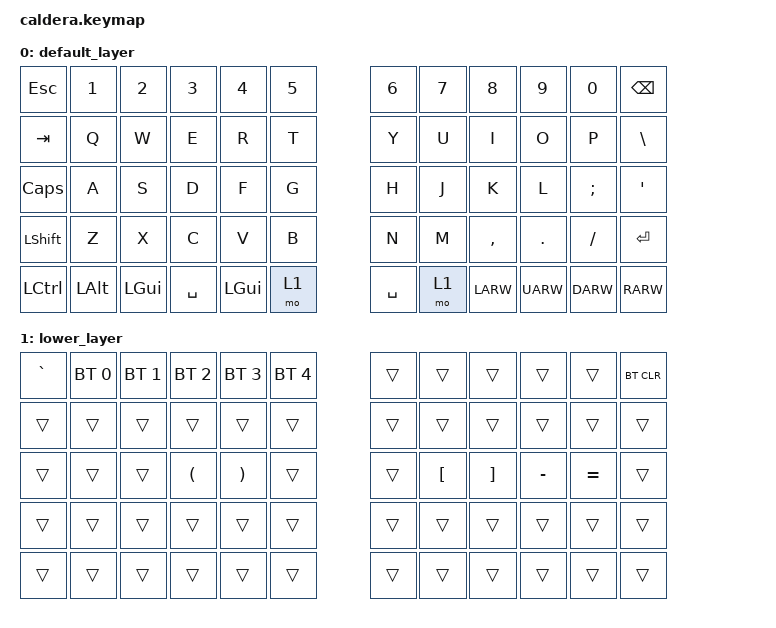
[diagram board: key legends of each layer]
/*
 * Copyright (c) 2024 The ZMK Contributors
 *
 * SPDX-License-Identifier: MIT
 */

#include <behaviors.dtsi>
#include <dt-bindings/zmk/keys.h>
#include <dt-bindings/zmk/bt.h>

/ {
        keymap {
                compatible = "zmk,keymap";

                default_layer {
// ---------------------------------------------------------------------------------
// |  ESC |  1  |  2  |  3  |  4  |  5  |     |  6  |  7  |  8  |  9  |  0  | BKSP |
// |  TAB |  Q  |  W  |  E  |  R  |  T  |     |  Y  |  U  |  I  |  O  |  P  |  \   |
// | CAPS |  A  |  S  |  D  |  F  |  G  |     |  H  |  J  |  K  |  L  |  ;  | APOS |
// | SHFT |  Z  |  X  |  C  |  V  |  B  |     |  N  |  M  |  ,  |  .  |  /  |  ENT |
// | CTRL | ALT | GUI | SPC | GUI | LOW |     | SPC | LOW |LARW |UARW |DARW | RARW |
                        bindings = <
   &kp ESC    &kp N1    &kp N2    &kp N3     &kp N4     &kp N5               &kp N6     &kp N7  &kp N8     &kp N9    &kp N0    &kp BSPC
   &kp TAB    &kp Q     &kp W     &kp E      &kp R      &kp T                &kp Y      &kp U   &kp I      &kp O     &kp P     &kp BSLH
   &kp CAPS   &kp A     &kp S     &kp D      &kp F      &kp G                &kp H      &kp J   &kp K      &kp L     &kp SEMI  &kp APOS
   &kp LSHFT  &kp Z     &kp X     &kp C      &kp V      &kp B                &kp N      &kp M   &kp COMMA  &kp DOT   &kp FSLH  &kp RET
   &kp LCTRL  &kp LALT  &kp LGUI  &kp SPACE  &kp LGUI   &mo 1                &kp SPACE  &mo 1   &kp LARW   &kp UARW  &kp DARW  &kp RARW
                        >;
                };
                lower_layer {
// ------------------------------------------------------------------------------------------------------------
// |   `   |  BT1  |  BT2  |  BT3  |  BT4  |  BT5  |          |       |       |       |       |       | BTCLR |
// |       |       |       |       |       |       |          |       |       |       |       |       |       |
// |       |       |       | LPAR  | RPAR  |       |          |       | LBKT  | RBKT  |       |       |       |
// |       |       |       |       |       |       |          |       |       |       |       |       |       |
// |       |       |       |       |       |       |          |       |       |       |       |       |       |
                        bindings = <
   &kp GRAVE  &bt BT_SEL 0   &bt BT_SEL 1   &bt BT_SEL 2   &bt BT_SEL 3   &bt BT_SEL 4           &trans    &trans    &trans   &trans   &trans  &bt BT_CLR
   &trans    &trans         &trans         &trans         &trans         &trans                 &trans    &trans    &trans   &trans   &trans  &trans
   &trans    &trans         &trans         &kp LPAR       &kp RPAR       &trans                 &trans    &kp LBKT  &kp RBKT &kp MINUS   &kp EQUAL  &trans
   &trans    &trans         &trans         &trans         &trans         &trans                 &trans    &trans    &trans   &trans   &trans  &trans
   &trans    &trans         &trans         &trans         &trans         &trans                 &trans    &trans    &trans   &trans   &trans  &trans
                        >;
                };
        };
};
